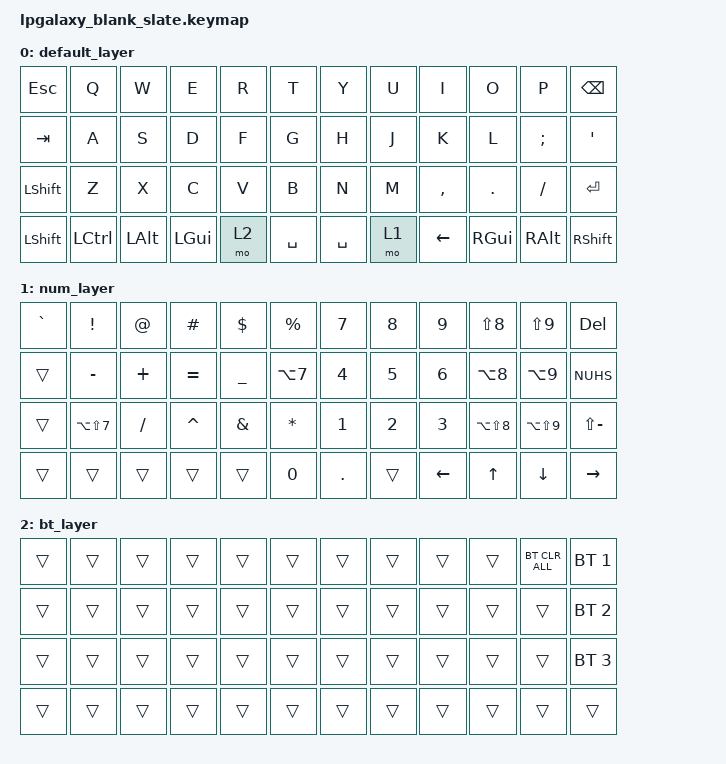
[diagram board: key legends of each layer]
#include <behaviors.dtsi>
#include <dt-bindings/zmk/bt.h>
#include <dt-bindings/zmk/keys.h>
  
  / {
      keymap {
          compatible = "zmk,keymap";

          default_layer {
              bindings = <
  &kp ESC    &kp Q  &kp W      &kp E     &kp R  &kp T     &kp Y     &kp U  &kp I      &kp O    &kp P     &kp BACKSPACE
  &kp TAB    &kp A  &kp S      &kp D     &kp F  &kp G     &kp H     &kp J  &kp K      &kp L    &kp SEMI  &kp SQT
  &kp LSHFT  &kp Z  &kp X      &kp C     &kp V  &kp B     &kp N     &kp M  &kp COMMA  &kp DOT  &kp FSLH  &kp ENTER
  &kp LSHFT  &kp LCTRL &kp LALT   &kp LGUI  &mo 2  &kp SPACE &kp SPACE &mo 1  &kp LEFT   &kp RGUI   &kp RALT  &kp RSHIFT
              >;
          };

          num_layer {
              bindings = <
  &kp GRAVE  &kp EXCL   &kp AT       &kp HASH      &kp DLLR  &kp PRCNT    &kp N7  &kp N8  &kp N9  &kp LS(N8)     &kp LS(N9)     &kp DEL
  &trans     &kp MINUS  &kp PLUS     &kp EQUAL     &kp UNDER &kp LA(N7)   &kp N4  &kp N5  &kp N6  &kp LA(N8)     &kp LA(N9)     &kp NUHS
  &trans     &kp LA(LS(N7)) &kp FSLH &kp CARET     &kp AMPS  &kp STAR     &kp N1  &kp N2  &kp N3  &kp LA(LS(N8)) &kp LA(LS(N9)) &kp LS(MINUS)
  &trans     &trans     &trans       &trans        &trans    &kp N0       &kp DOT &trans  &kp LEFT  &kp UP         &kp DOWN         &kp RIGHT
              >;
          };

          bt_layer {
              bindings = <
  &trans  &trans  &trans  &trans  &trans  &trans  &trans  &trans  &trans  &trans  &bt BT_CLR_ALL  &bt BT_SEL 1
  &trans  &trans  &trans  &trans  &trans  &trans  &trans  &trans  &trans  &trans  &trans          &bt BT_SEL 2
  &trans  &trans  &trans  &trans  &trans  &trans  &trans  &trans  &trans  &trans  &trans          &bt BT_SEL 3
  &trans  &trans  &trans  &trans  &trans  &trans  &trans  &trans  &trans  &trans  &trans          &trans
              >;
          };
      };
  };
